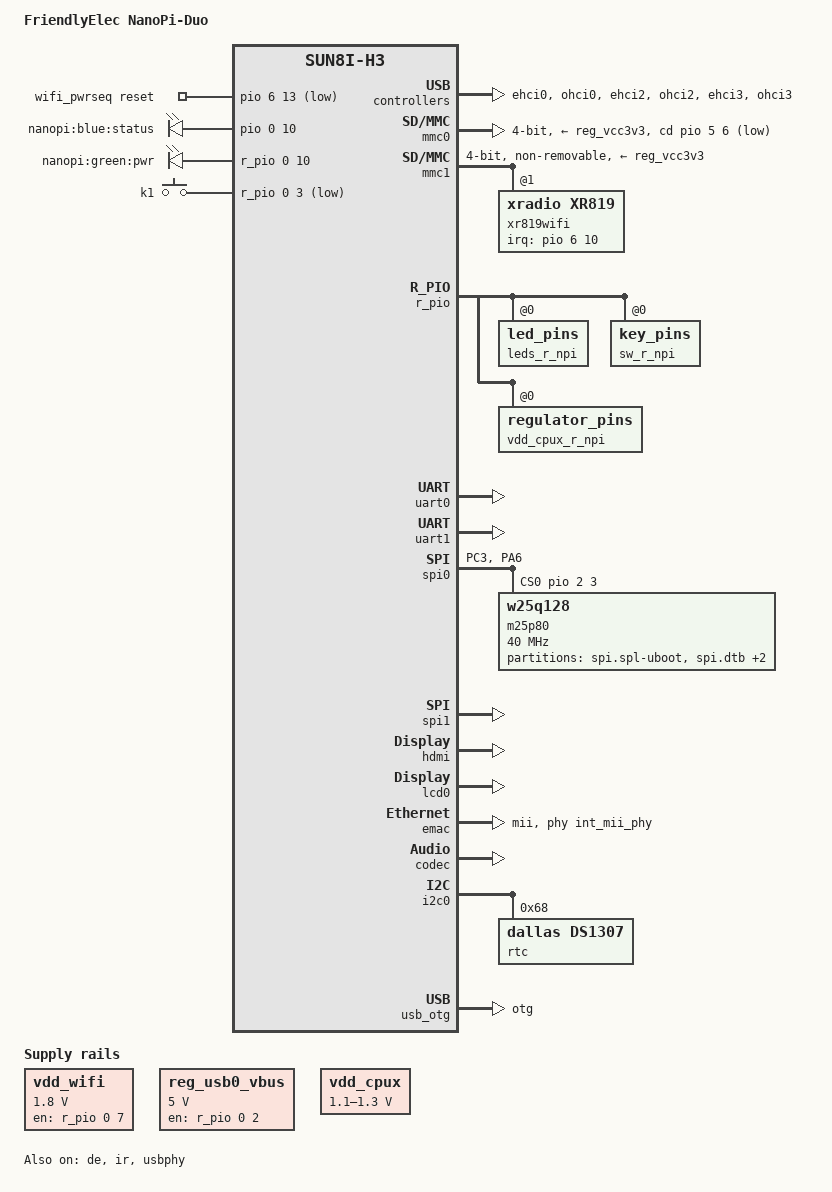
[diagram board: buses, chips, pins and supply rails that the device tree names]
/*
 * Copyright (C) 2016 James Pettigrew <james@innovum.com.au>
 * Copyright (C) 2016 Milo Kim <woogyom.kim@gmail.com>
 *
 * This file is dual-licensed: you can use it either under the terms
 * of the GPL or the X11 license, at your option. Note that this dual
 * licensing only applies to this file, and not this project as a
 * whole.
 *
 *  a) This file is free software; you can redistribute it and/or
 *     modify it under the terms of the GNU General Public License as
 *     published by the Free Software Foundation; either version 2 of the
 *     License, or (at your option) any later version.
 *
 *     This file is distributed in the hope that it will be useful,
 *     but WITHOUT ANY WARRANTY; without even the implied warranty of
 *     MERCHANTABILITY or FITNESS FOR A PARTICULAR PURPOSE.  See the
 *     GNU General Public License for more details.
 *
 * Or, alternatively,
 *
 *  b) Permission is hereby granted, free of charge, to any person
 *     obtaining a copy of this software and associated documentation
 *     files (the "Software"), to deal in the Software without
 *     restriction, including without limitation the rights to use,
 *     copy, modify, merge, publish, distribute, sublicense, and/or
 *     sell copies of the Software, and to permit persons to whom the
 *     Software is furnished to do so, subject to the following
 *     conditions:
 *
 *     The above copyright notice and this permission notice shall be
 *     included in all copies or substantial portions of the Software.
 *
 *     THE SOFTWARE IS PROVIDED "AS IS", WITHOUT WARRANTY OF ANY KIND,
 *     EXPRESS OR IMPLIED, INCLUDING BUT NOT LIMITED TO THE WARRANTIES
 *     OF MERCHANTABILITY, FITNESS FOR A PARTICULAR PURPOSE AND
 *     NONINFRINGEMENT. IN NO EVENT SHALL THE AUTHORS OR COPYRIGHT
 *     HOLDERS BE LIABLE FOR ANY CLAIM, DAMAGES OR OTHER LIABILITY,
 *     WHETHER IN AN ACTION OF CONTRACT, TORT OR OTHERWISE, ARISING
 *     FROM, OUT OF OR IN CONNECTION WITH THE SOFTWARE OR THE USE OR
 *     OTHER DEALINGS IN THE SOFTWARE.
 */

/dts-v1/;
#include "sun8i-h3.dtsi"
#include "sunxi-common-regulators.dtsi"

#include <dt-bindings/gpio/gpio.h>
#include <dt-bindings/input/input.h>
#include <dt-bindings/pinctrl/sun4i-a10.h>
#include <dt-bindings/thermal/thermal.h>

/ {
	model = "FriendlyElec NanoPi-Duo";
	compatible = "friendlyarm,nanopi-duo", "allwinner,sun8i-h3";

	aliases {
		serial0 = &uart0;
		serial1 = &uart1;
		serial2 = &uart2;
		serial3 = &uart3;
		i2c0 = &i2c0;
		i2c1 = &i2c1;
		i2c2 = &i2c2;
		spi0 = &spi0;
		spi1 = &spi1;
		pwm0 = &pwm;
		mmc0 = &mmc0;
		mmc2 = &mmc2;
		ethernet0 = &emac;
		lcd0 = &lcd0;
		i2s0 = &i2s0;
	};

	chosen {
		stdout-path = "serial0:115200n8";
	};
    	vdd_wifi: vdd_wifi {
        	compatible = "regulator-fixed";
        	regulator-name = "wifi";
        	regulator-min-microvolt = <1800000>;
        	regulator-max-microvolt = <1800000>;
        	gpio = <&r_pio 0 7 GPIO_ACTIVE_HIGH>;                // GPIOL7/WIFI_POWER_EN
        	startup-delay-us = <70000>;
        	enable-active-high;
    	};

    	wifi_pwrseq: wifi_pwrseq {
        	compatible = "mmc-pwrseq-simple";
        	pinctrl-names = "default";
        	pinctrl-0 = <&wifi_en_npi>;
        	reset-gpios = <&pio 6 13 GPIO_ACTIVE_LOW>;          // GPIOG13/WL_RESTN
        	post-power-on-delay-ms = <50>;
    	};
     	reg_usb0_vbus: usb0-vbus {
		compatible = "regulator-fixed";
		regulator-name = "usb0-vbus";
		regulator-min-microvolt = <5000000>;
		regulator-max-microvolt = <5000000>;
		enable-active-high;
		gpio = <&r_pio 0 2 GPIO_ACTIVE_HIGH>; /* PL2 */
		status = "okay";
     	};
	leds {
		compatible = "gpio-leds";
		pinctrl-names = "default";
		pinctrl-0 = <&leds_npi>, <&leds_r_npi>;

		status {
			label = "nanopi:blue:status";
			gpios = <&pio 0 10 GPIO_ACTIVE_HIGH>;
			linux,default-trigger = "heartbeat";
		};

		pwr {
			label = "nanopi:green:pwr";
			gpios = <&r_pio 0 10 GPIO_ACTIVE_HIGH>;
			default-state = "on";
		};
	};

	r_gpio_keys {
		compatible = "gpio-keys";
		input-name = "k1";
		pinctrl-names = "default";
		pinctrl-0 = <&sw_r_npi>;

		k1@0 {
			label = "k1";
			linux,code = <KEY_POWER>;
			gpios = <&r_pio 0 3 GPIO_ACTIVE_LOW>;
		};
	};

	vdd_cpux: gpio-regulator {
		compatible = "regulator-gpio";

		pinctrl-names = "default";
		pinctrl-0 = <&vdd_cpux_r_npi>;

		regulator-name = "vdd-cpux";
		regulator-type = "voltage";
		regulator-boot-on;
		regulator-always-on;
		regulator-min-microvolt = <1100000>;
		regulator-max-microvolt = <1300000>;
		regulator-ramp-delay = <50>; /* 4ms */

		gpios = <&r_pio 0 6 GPIO_ACTIVE_HIGH>;
		gpios-states = <0x1>;
		states = <1100000 0x0
			  1300000 0x1>;
	};

};

&cpu0 {
	operating-points = <
		1008000	1300000
		816000	1100000
		624000	1100000
		480000	1100000
		312000	1100000
		240000	1100000
		120000	1100000
		>;
	#cooling-cells = <2>;
	cooling-min-level = <0>;
	cooling-max-level = <6>;
	cpu0-supply = <&vdd_cpux>;
};

&cpu_thermal {
	trips {
		cpu_warm: cpu_warm {
			temperature = <65000>;
			hysteresis = <2000>;
			type = "passive";
		};
		cpu_hot: cpu_hot {
			temperature = <75000>;
			hysteresis = <2000>;
			type = "passive";
		};
		cpu_very_hot: cpu_very_hot {
			temperature = <90000>;
			hysteresis = <2000>;
			type = "passive";
		};
		cpu_crit: cpu_crit {
			temperature = <105000>;
			hysteresis = <2000>;
			type = "critical";
		};
	};

	cooling-maps {
		cpu_warm_limit_cpu {
			trip = <&cpu_warm>;
			cooling-device = <&cpu0 THERMAL_NO_LIMIT 1>;
		};
		cpu_hot_limit_cpu {
			trip = <&cpu_hot>;
			cooling-device = <&cpu0 2 3>;
		};
		cpu_very_hot_limit_cpu {
			trip = <&cpu_very_hot>;
			cooling-device = <&cpu0 5 THERMAL_NO_LIMIT>;
		};
	};
};

&ehci0 {
	status = "okay";
};

&ohci0 {
	status = "okay";
};

&ehci1 {
	status = "disabled";
};

&ohci1 {
	status = "disabled";
};

&ehci2 {
	status = "okay";
};

&ohci2 {
	status = "okay";
};

&ehci3 {
	status = "okay";
};

&ohci3 {
	status = "okay";
};

&mmc0 {
	bus-width = <4>;
	cd-gpios = <&pio 5 6 GPIO_ACTIVE_HIGH>;
	cd-inverted;
	pinctrl-names = "default";
	pinctrl-0 = <&mmc0_pins_a>, <&mmc0_cd_pin>;
	boot_device = <0>;
	status = "okay";
	vmmc-supply = <&reg_vcc3v3>;
};

&mmc1 {
    pinctrl-names = "default";
    pinctrl-0 = <&mmc1_pins_a>;
    vqmmc-supply = <&vdd_wifi>;
    vmmc-supply = <&reg_vcc3v3>;
    mmc-pwrseq = <&wifi_pwrseq>;
    bus-width = <4>;
    non-removable;
    status = "okay";

    xr819wifi: xr819wifi@1 {
            reg = <1>;
            compatible = "xradio,xr819";
            pinctrl-names = "default";
            pinctrl-0 = <&wifi_wake>;
            interrupt-parent = <&pio>;
            interrupts = <6 10 IRQ_TYPE_EDGE_RISING>;
            interrupt-names = "host-wake";
            local-mac-address = [dc 44 6d c0 ff ef];
    };
};


&mmc2 {
	boot_device = <0>;
};

&pio {
    wifi_wake: wifi_wake@0 {
        pins = "PG10";
        function = "irq";
        pull = <SUN4I_PINCTRL_NO_PULL>;
    };
    wifi_en_npi: wifi_en_pin {
        pins = "PG13";
        function = "gpio_out";
    };
    leds_npi: led_pins@0 {
    	pins = "PA10";
    	function = "gpio_out";
    };
    spi0_cs_pins: spi0_cs_pins {
        pins = "PC3", "PA6";
        function = "gpio_out";
    };
    spi1_cs_pins: spi1_cs_pins {
        pins = "PA13";
        function = "gpio_out";
    };
};

&r_pio {
	leds_r_npi: led_pins@0 {
		pins = "PL10";
		function = "gpio_out";
	};

	sw_r_npi: key_pins@0 {
		pins = "PL3";
		function = "gpio_in";
	};
	vdd_cpux_r_npi: regulator_pins@0 {
		allwinner,pins = "PL6";
		allwinner,function = "gpio_out";
		allwinner,drive = <SUN4I_PINCTRL_10_MA>;
		allwinner,pull = <SUN4I_PINCTRL_NO_PULL>;
	};
};

&uart0 {
	pinctrl-names = "default";
	pinctrl-0 = <&uart0_pins_a>;
	status = "okay";
};

&uart1 {
	pinctrl-names = "default";
	pinctrl-0 = <&uart1_pins>;
	status = "okay";
};

&spi0 {
    /* needed to avoid dtc warning */
    #address-cells = <1>;
    #size-cells = <0>;

    status = "okay";
    pinctrl-names = "default";
    pinctrl-0 = <&spi0_pins &spi0_cs_pins>;
    cs-gpios = <&pio 2 3 GPIO_ACTIVE_HIGH>, <&pio 0 6 GPIO_ACTIVE_HIGH>;

     m25p80@0 {
	compatible = "w25q128";
	spi-max-frequency = <40000000>;
	reg = <0>;
	spi-tx-bus-width = <1>;
	spi-rx-bus-width = <1>;
	#address-cells = <1>;
	#size-cells = <1>;

    	/*
    	* MTD partition table.
    	*/
    	partition@0 {
    		label = "spi.spl-uboot";
    		reg = <0x00000000 0x00080000>;
    	};
    	partition@1 {
    		label = "spi.dtb";
    		reg = <0x00080000 0x00080000>;
    	};
    	partition@2 {
    		label = "spi.kernel";
    		reg = <0x00100000 0x00500000>;
    	};
    	partition@3 {
    		label = "spi.os";
    		reg = <0x00600000 0x00a00000>;
    	};
    };

};

&spi1 {
    /* needed to avoid dtc warning */
    #address-cells = <1>;
    #size-cells = <0>;

    status = "okay";
    pinctrl-names = "default";
    pinctrl-0 = <&spi1_pins>;
    cs-gpios = <&pio 0 13 GPIO_ACTIVE_HIGH>;


    pitft: pitft@0{
        compatible = "sitronix,st7789v";
        reg = <0>;
        status = "disabled";

        spi-max-frequency = <50000000>;
        rotate = <90>;
        fps = <33>;
        buswidth = <8>;
        dc-gpios = <&pio 0 1 GPIO_ACTIVE_HIGH>;     /* PA1 */
        reset-gpios = <&pio 6 11 GPIO_ACTIVE_HIGH>; /* PG11 */
        debug = <0x0>;
    };

    pitft_ts: pitft-ts@1 {
        compatible = "ti,ads7846";
        reg = <1>;
        status = "disabled";

        spi-max-frequency = <2000000>;
        interrupt-parent = <&pio>;
        interrupts = <6 9 IRQ_TYPE_EDGE_FALLING>;   /* PG9 / EINT9 */
        pendown-gpio = <&pio 6 9 GPIO_ACTIVE_LOW>;
        ti,swap-xy;
        ti,vref-delay-usecs = <1000>;
        ti,x-min = /bits/ 16 <100>;
        ti,x-max = /bits/ 16 <0xfff>;
        ti,y-min = /bits/ 16 <100>;
        ti,y-max = /bits/ 16 <0xfff>;
        ti,vref-mv = <3300>;
        ti,x-plate-ohms = /bits/ 16 <256>;
        ti,penirq-recheck-delay-usecs = <10>;
        ti,settle-delay-usec = /bits/ 16 <100>;
        ti,keep-vref-on = <1>;
        ti,pressure-max = /bits/ 16 <0xfff>;
        ti,debounce-max = <10>;
        ti,debounce-tol = <30>;
        ti,debounce-rep = <1>;
    };
};


&de {
    status = "okay";
};

&hdmi {
    status = "okay";
};

&lcd0 {
    status = "okay";
};

&emac {
	local-mac-address = [ 00 00 00 00 00 00 ];
	phy-handle = <&int_mii_phy>;
	phy-mode = "mii";
	allwinner,leds-active-low;
	status = "okay";	
};

&codec {
	allwinner,audio-routing =
		"Line Out", "LINEOUT",
		"MIC1", "Mic",
		"Mic",  "MBIAS";
	status = "okay";
};

&pwm {
	pinctrl-names = "default";
	pinctrl-0 = <&pwm0_pins>;
	status = "okey";
};


&i2c0 {
    status = "okay";
    rtc@68 {
                compatible = "dallas,ds1307";
                reg = <0x68>;
        };
};

&ir {
	pinctrl-names = "default";
	pinctrl-0 = <&ir_pins_a>;
	status = "okay";
};

&usb_otg {
	dr_mode = "otg";
	status = "okay";
};

&usbphy {
	/* USB Type-A ports' VBUS is always on */
	usb0_id_det-gpios = <&pio 6 12 GPIO_ACTIVE_HIGH>; /* PG12 */
	usb0_vbus-supply = <&reg_usb0_vbus>;
	status = "okay";
};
